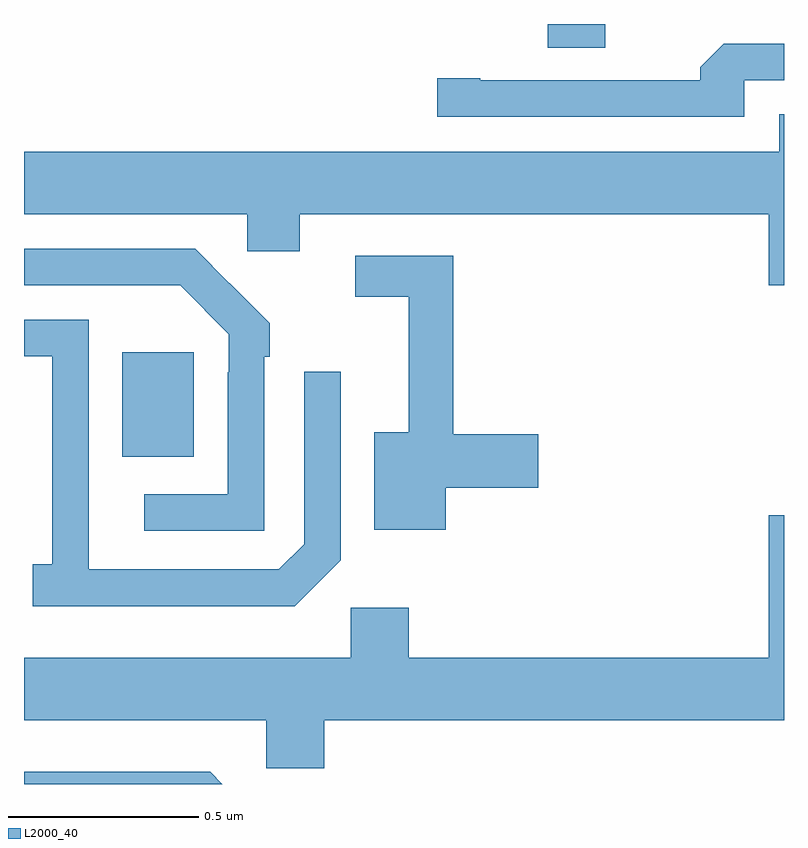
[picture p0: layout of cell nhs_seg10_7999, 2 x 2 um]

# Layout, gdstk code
import gdstk
lib = gdstk.Library(unit=1e-6, precision=1e-09)
def R(c, l, rs):  # rectangles x0, y0, x1, y1
    for r in rs: c.add(gdstk.rectangle(r[:2], r[2:], *l))
def P(c, l, *ps):  # polygons
    for p in ps: c.add(gdstk.Polygon(p, *l))
L2000_40 = (2000, 40)

nhs_seg10_7999 = lib.new_cell('nhs_seg10_7999')
R(nhs_seg10_7999, L2000_40, [(211.259,1282.361,211.447,1282.636), (212.378,1283.437,212.53,1283.5)])
P(nhs_seg10_7999, L2000_40, [(212.895,1283.352),(213,1283.352),(213,1283.448),(212.841,1283.448),(212.78,1283.386),(212.78,1283.352),(212.2,1283.352),(212.2,1283.357),(212.088,1283.357),(212.088,1283.256),(212.895,1283.256)],
  [(213,1283.263),(212.987,1283.263),(212.987,1283.164),(211,1283.164),(211,1283),(211.587,1283),(211.587,1282.902),(211.726,1282.902),(211.726,1283),(212.96,1283),(212.96,1282.812),(213,1282.812)],
  [(211.632,1282.625),(211.647,1282.625),(211.647,1282.713),(211.542,1282.818),(211.541,1282.817),(211.45,1282.908),(211,1282.908),(211,1282.812),(211.411,1282.812),(211.539,1282.683),(211.539,1282.583),(211.536,1282.583),(211.536,1282.263),(211.317,1282.263),(211.317,1282.167),(211.632,1282.167)],
  [(212.11,1282.279),(212.353,1282.279),(212.353,1282.421),(212.129,1282.421),(212.129,1282.89),(211.872,1282.89),(211.872,1282.782),(212.012,1282.782),(212.012,1282.426),(211.922,1282.426),(211.922,1282.169),(212.11,1282.169)],
  [(211.833,1282.089),(211.833,1282.585),(211.737,1282.585),(211.737,1282.131),(211.671,1282.065),(211.171,1282.065),(211.171,1282.265),(211.17,1282.265),(211.17,1282.722),(211,1282.722),(211,1282.626),(211.074,1282.626),(211.074,1282.078),(211.023,1282.078),(211.023,1281.968),(211.712,1281.968)],
  [(213,1282.207),(212.96,1282.207),(212.96,1281.832),(212.012,1281.832),(212.012,1281.964),(211.86,1281.964),(211.86,1281.832),(211,1281.832),(211,1281.668),(211.638,1281.668),(211.638,1281.542),(211.79,1281.542),(211.79,1281.668),(213,1281.668)],
  [(211.49,1281.532),(211,1281.532),(211,1281.5),(211.522,1281.5)])

lib.write_gds('nhs_seg10_7999.gds')
